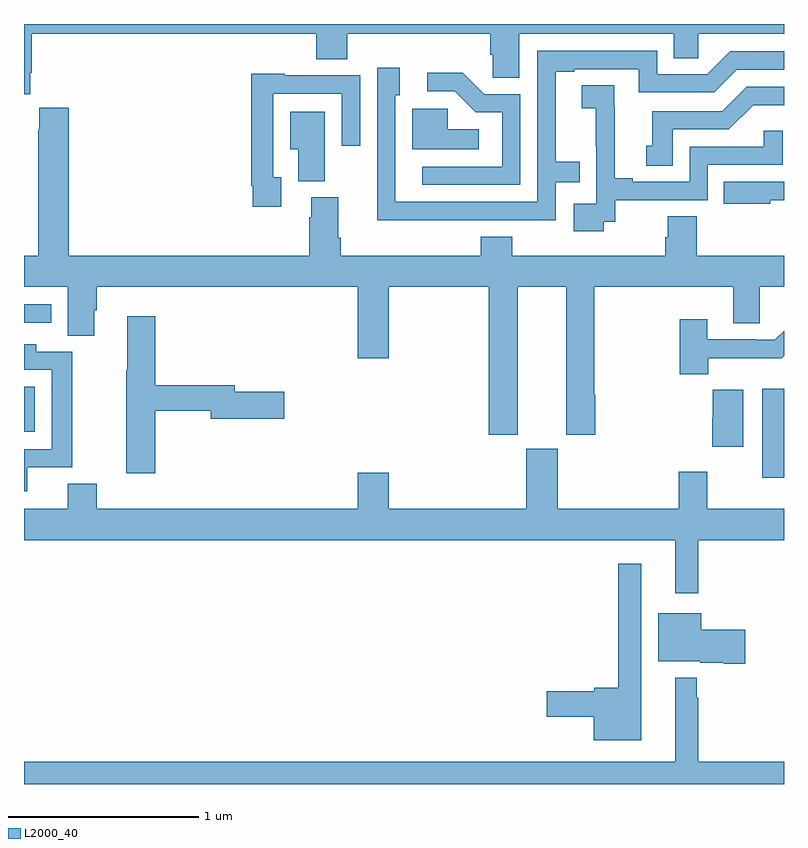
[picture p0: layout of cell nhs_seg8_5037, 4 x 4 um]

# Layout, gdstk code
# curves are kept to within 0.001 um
import gdstk
lib = gdstk.Library(unit=1e-6, precision=1e-09)
def R(c, l, rs):  # rectangles x0, y0, x1, y1
    for r in rs: c.add(gdstk.rectangle(r[:2], r[2:], *l))
def P(c, l, *ps):  # polygons
    for p in ps: c.add(gdstk.Polygon(p, *l))
L2000_40 = (2000, 40)

nhs_seg8_5037 = lib.new_cell('nhs_seg8_5037')
R(nhs_seg8_5037, L2000_40, [(418.886,1099.512,419,1099.981), (415,1099.754,415.057,1099.99), (415,1100.328,415.144,1100.424)])
P(nhs_seg8_5037, L2000_40, [(415.033,1101.643),(415.04,1101.643),(415.04,1101.848),(416.537,1101.848),(416.537,1101.715),(416.702,1101.715),(416.702,1101.848),(417.455,1101.848),(417.455,1101.739),(417.468,1101.739),(417.468,1101.616),(417.607,1101.616),(417.607,1101.848),(418.421,1101.848),(418.421,1101.721),(418.548,1101.721),(418.548,1101.848),(419,1101.848),(419,1101.9),(415,1101.9),(415,1101.531),(415.033,1101.531)],
  [(417.32,1100.868),(417.798,1100.868),(417.798,1101.066),(417.926,1101.066),(417.926,1101.175),(417.799,1101.175),(417.799,1101.648),(417.895,1101.648),(417.895,1101.663),(418.236,1101.663),(418.236,1101.54),(418.632,1101.54),(418.752,1101.66),(419,1101.66),(419,1101.756),(418.716,1101.756),(418.596,1101.636),(418.332,1101.636),(418.332,1101.759),(417.702,1101.759),(417.702,1100.964),(416.955,1100.964),(416.955,1101.525),(416.977,1101.525),(416.977,1101.67),(416.859,1101.67),(416.858,1100.867)],
  [(417.612,1101.531),(417.423,1101.531),(417.31,1101.644),(417.123,1101.644),(417.123,1101.546),(417.267,1101.546),(417.378,1101.435),(417.516,1101.435),(417.516,1101.15),(417.096,1101.15),(417.096,1101.054),(417.612,1101.054)],
  [(416.353,1101.093),(416.313,1101.093),(416.313,1101.534),(416.673,1101.534),(416.673,1101.258),(416.769,1101.258),(416.769,1101.63),(416.373,1101.63),(416.373,1101.637),(416.197,1101.637),(416.197,1101.049),(416.205,1101.049),(416.205,1100.937),(416.353,1100.937)],
  [(418.05,1100.859),(418.112,1100.859),(418.112,1100.973),(418.599,1100.973),(418.599,1101.159),(418.994,1101.159),(418.994,1101.337),(418.893,1101.337),(418.893,1101.255),(418.503,1101.255),(418.503,1101.069),(418.204,1101.069),(418.204,1101.089),(418.108,1101.089),(418.108,1101.467),(418.106,1101.467),(418.106,1101.578),(417.936,1101.578),(417.936,1101.457),(418.01,1101.457),(418.01,1101.259),(418.011,1101.259),(418.011,1100.955),(417.894,1100.955),(417.894,1100.808),(418.05,1100.808)],
  [(418.414,1101.345),(418.71,1101.345),(418.838,1101.473),(419,1101.473),(419,1101.57),(418.803,1101.57),(418.674,1101.441),(418.307,1101.441),(418.307,1101.258),(418.274,1101.258),(418.274,1101.154),(418.414,1101.154)],
  [(417.404,1100.779),(417.404,1100.68),(416.666,1100.68),(416.666,1100.776),(416.653,1100.776),(416.653,1100.988),(416.513,1100.988),(416.513,1100.882),(416.501,1100.882),(416.501,1100.68),(415.235,1100.68),(415.235,1101.46),(415.079,1101.46),(415.079,1101.347),(415.075,1101.347),(415.075,1100.68),(415,1100.68),(415,1100.516),(415.229,1100.516),(415.229,1100.26),(415.369,1100.26),(415.369,1100.394),(415.382,1100.394),(415.382,1100.516),(416.756,1100.516),(416.756,1100.142),(416.92,1100.142),(416.92,1100.516),(417.446,1100.516),(417.446,1099.737),(417.598,1099.737),(417.598,1100.516),(417.854,1100.516),(417.854,1099.737),(418.007,1099.737),(418.007,1099.949),(418.002,1099.949),(418.002,1100.516),(418.733,1100.516),(418.733,1100.326),(418.873,1100.326),(418.873,1100.516),(419,1100.516),(419,1100.68),(418.541,1100.68),(418.541,1100.888),(418.388,1100.888),(418.388,1100.778),(418.376,1100.778),(418.376,1100.68),(417.569,1100.68),(417.569,1100.779)],
  [(417.394,1101.346),(417.231,1101.346),(417.231,1101.453),(417.044,1101.453),(417.044,1101.242),(417.394,1101.242)],
  [(416.584,1101.439),(416.402,1101.439),(416.402,1101.242),(416.444,1101.242),(416.444,1101.073),(416.584,1101.073)],
  [(418.927,1100.973),(419,1100.973),(419,1101.069),(418.684,1101.069),(418.684,1100.954),(418.927,1100.954)],
  [(415.691,1099.864),(415.982,1099.864),(415.982,1099.822),(416.371,1099.822),(416.371,1099.964),(416.11,1099.964),(416.11,1100),(415.691,1100),(415.691,1100.362),(415.544,1100.362),(415.544,1100.077),(415.537,1100.077),(415.537,1099.536),(415.691,1099.536)],
  [(418.6,1100.142),(418.989,1100.142),(419,1100.153),(419,1100.286),(418.952,1100.238),(418.853,1100.238),(418.853,1100.241),(418.597,1100.241),(418.597,1100.347),(418.45,1100.347),(418.45,1100.057),(418.6,1100.057)],
  [(415.016,1099.566),(415.255,1099.566),(415.255,1100.175),(415.065,1100.175),(415.065,1100.215),(415,1100.215),(415,1100.079),(415.146,1100.079),(415.146,1099.662),(415,1099.662),(415,1099.44),(415.016,1099.44)],
  [(418.786,1099.975),(418.624,1099.975),(418.624,1099.827),(418.622,1099.827),(418.622,1099.674),(418.786,1099.674)],
  [(418.549,1099.184),(419,1099.184),(419,1099.348),(418.597,1099.348),(418.597,1099.543),(418.445,1099.543),(418.445,1099.348),(417.808,1099.348),(417.808,1099.665),(417.644,1099.665),(417.644,1099.348),(416.92,1099.348),(416.92,1099.537),(416.756,1099.537),(416.756,1099.348),(415.382,1099.348),(415.382,1099.481),(415.229,1099.481),(415.229,1099.348),(415,1099.348),(415,1099.184),(418.427,1099.184),(418.427,1098.903),(418.549,1098.903)],
  [(418.249,1099.06),(418.128,1099.06),(418.128,1098.407),(418.002,1098.407),(418.002,1098.389),(417.75,1098.389),(417.75,1098.254),(417.998,1098.254),(417.998,1098.131),(418.249,1098.131)],
  [(418.795,1098.711),(418.564,1098.711),(418.564,1098.799),(418.337,1098.799),(418.337,1098.545),(418.56,1098.545),(418.56,1098.539),(418.682,1098.539),(418.682,1098.533),(418.795,1098.533)],
  [(419,1098.016),(418.549,1098.016),(418.549,1098.353),(418.541,1098.353),(418.541,1098.46),(418.427,1098.46),(418.427,1098.016),(415,1098.016),(415,1097.9),(419,1097.9)])

lib.write_gds('nhs_seg8_5037.gds')
